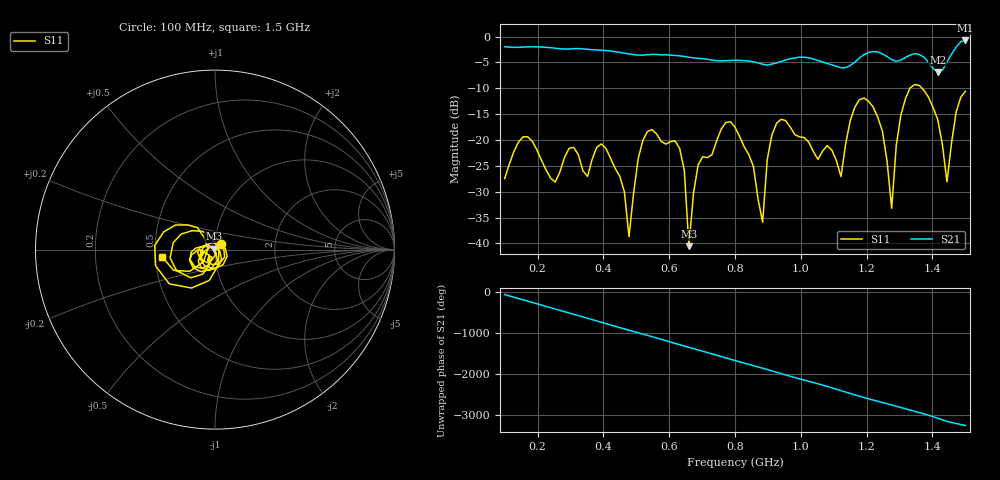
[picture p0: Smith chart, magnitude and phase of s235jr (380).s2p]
! NanoVNA-App
! Date: 2025-09-25 15:07:07
! Start: 100MHz Stop: 1,5GHz Points: 101
! S-Parameter data: F S11 S21 S12 S22
# Hz S RI R 50
!  Frequency  S11_Real  S11_Imag  S21_Real  S21_Imag  S12_Real  S12_Imag  S22_Real  S22_Imag
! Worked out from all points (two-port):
!   101 points, 100 MHz to 1.5 GHz, reference 50 ohm
!   highest |S21| = -0.76 dB at 1.5 GHz (marker M1); lowest = -6.8 dB at 1.416 GHz (marker M2)
!   |S21| within 3 dB of the highest: start of sweep to 635.3 MHz; 1.186 GHz to 1.259 GHz (72.3 MHz wide, 5.91 % of centre) (the widest 2 of 4)
!   lowest |S11| = -40.5 dB at 660 MHz (marker M3), VSWR 1.02, Z = 49.3 + j0.602 ohm
!   |S11| at or under -10 dB: start of sweep to 1.332 GHz; 1.368 GHz to end of sweep
!   S12 and S22 are empty: the file has one direction only
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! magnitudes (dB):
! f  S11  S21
! 100 MHz  -27.5  -2.0
! 156 MHz  -19.4  -2.0
! 338 MHz  -26.0  -2.4
! 408 MHz  -21.6  -2.7
! 478 MHz  -38.7  -3.4
! 520 MHz  -20.1  -3.6
! 576 MHz  -20.3  -3.5
! 632 MHz  -21.7  -3.7
! 660 MHz  -40.5  -4.0
! 688 MHz  -24.8  -4.2
! 800 MHz  -17.5  -4.6
! 884 MHz  -35.9  -5.4
! 926 MHz  -16.8  -5.1
! 1.038 GHz  -22.2  -4.4
! 1.122 GHz  -27.1  -6.0
! 1.206 GHz  -12.5  -3.1
! 1.248 GHz  -18.3  -3.4
! 1.276 GHz  -33.2  -4.5
! 1.332 GHz  -9.9  -3.6
! 1.416 GHz  -16.1  -6.8
! 1.444 GHz  -28.1  -4.9
! 1.5 GHz  -10.6  -0.8
